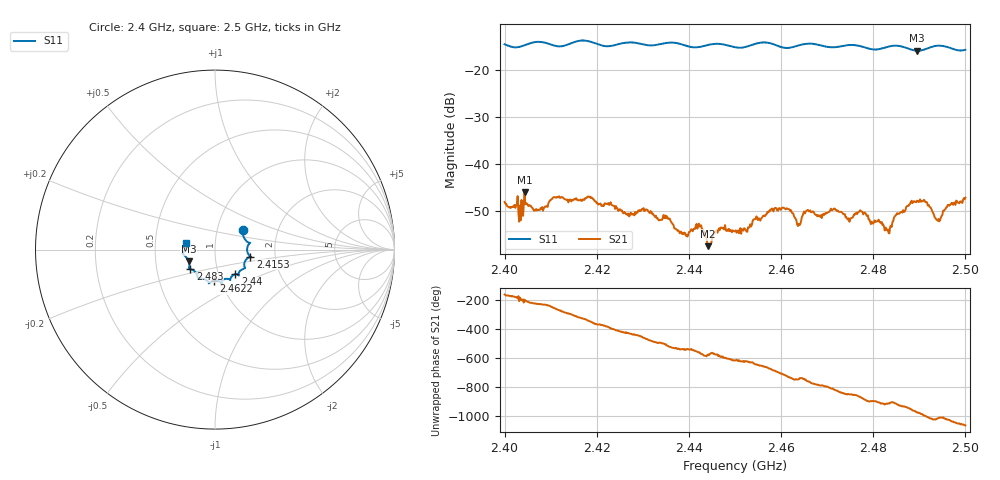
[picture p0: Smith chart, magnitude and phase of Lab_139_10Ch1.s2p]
# Hz S RI R 50
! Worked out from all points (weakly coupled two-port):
!   601 points, 2.4 GHz to 2.5 GHz, reference 50 ohm
!   highest |S21| = -45.97 dB at 2.4043 GHz (marker M1); lowest = -57.5 dB at 2.4442 GHz (marker M2)
!   lowest |S11| = -15.9 dB at 2.4895 GHz (marker M3), VSWR 1.38, Z = 36.9 - j4.99 ohm
!   |S11| at or under -10 dB: start of sweep to end of sweep
!   S12 and S22 are empty: the file has one direction only
!   S11 on the Smith chart (normalised r, x): 2.4 GHz: 1.33, +0.29; 2.4153 GHz: 1.48, -0.12; 2.44 GHz: 1.20, -0.34; 2.4622 GHz: 0.93, -0.33; 2.483 GHz: 0.74, -0.17; 2.5 GHz: 0.72, +0.06
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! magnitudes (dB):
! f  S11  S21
! 2.4 GHz  -14.5  -48.1
! 2.4035 GHz  -15.0  -52.0
! 2.4043 GHz  -14.7  -46.0
! 2.4153 GHz  -14.0  -47.6
! 2.4167 GHz  -13.7  -47.9
! 2.4333 GHz  -14.6  -51.9
! 2.44 GHz  -15.0  -54.5
! 2.4422 GHz  -15.1  -52.8
! 2.4442 GHz  -14.6  -57.5
! 2.4468 GHz  -14.5  -53.6
! 2.45 GHz  -15.1  -54.4
! 2.4582 GHz  -14.4  -49.6
! 2.4622 GHz  -15.2  -49.9
! 2.4638 GHz  -14.7  -52.8
! 2.4667 GHz  -14.4  -50.2
! 2.4748 GHz  -14.7  -52.3
! 2.4775 GHz  -15.0  -50.2
! 2.483 GHz  -15.1  -54.2
! 2.4833 GHz  -15.0  -54.7
! 2.4895 GHz  -15.9  -47.8
! 2.494 GHz  -14.8  -52.1
! 2.5 GHz  -15.7  -47.2
